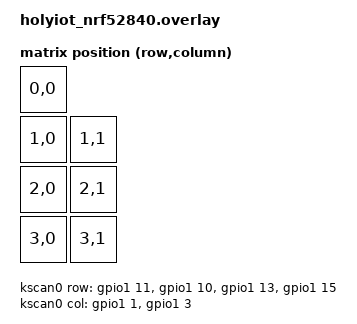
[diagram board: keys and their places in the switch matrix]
#include <dt-bindings/zmk/matrix_transform.h>
// #include <dt-bindings/zmk/trackball_pim447.h>

/ {
	chosen {
		zmk,kscan = &kscan0;
		zmk,matrix_transform = &default_transform;
	};

    default_transform: keymap_transform_0 {
        compatible = "zmk,matrix-transform";
        columns = <2>;
        rows = <4>;
        map = <
			RC(0,0)  
			RC(1,0)  RC(1,1)
			RC(2,0)  RC(2,1)
			RC(3,0)  RC(3,1)
        >;
    };

	kscan0: kscan_0 {
		compatible = "zmk,kscan-gpio-matrix";
		label = "KSCAN";
		diode-direction = "col2row";

		col-gpios
			= <&gpio1 1 GPIO_ACTIVE_HIGH> 
			, <&gpio1 3 GPIO_ACTIVE_HIGH>
			;
			
		row-gpios
			= <&gpio1 11 (GPIO_ACTIVE_HIGH | GPIO_PULL_DOWN)>
			, <&gpio1 10 (GPIO_ACTIVE_HIGH | GPIO_PULL_DOWN)>
			, <&gpio1 13 (GPIO_ACTIVE_HIGH | GPIO_PULL_DOWN)>
			, <&gpio1 15 (GPIO_ACTIVE_HIGH | GPIO_PULL_DOWN)>
			;
	};

};

&encoder {
	status = "okay";
};

// &i2c0 {
// 	compatible = "nordic,nrf-twi";
// 	status = "okay";
// 	sda-pin = <10>;
// 	scl-pin = <11>;
	
// 	trackball_pim447@a {
// 		compatible = "pimoroni,trackball_pim447";
// 		reg = <0xa>;
// 		label = "TRACKBALL_PIM447";

// 		move-factor = <1>;      // Increase pointer velocity (default: 1)
// 		//invert-move-x;        // Invert pointer X axis (left is right, and vice versa)
// 		//invert-move-y;        // Invert pointer Y axis (up is down, and vice versa)
// 		button = <0>;           // Send right-click when pressing the ball (default: 0, ie. left-click)
// 		scroll-divisor = <2>;   // Increase wheel velocity (default: 2)
// 		//invert-scroll-x;      // Invert wheel X axis (left is right, and vice versa)
// 		//invert-scroll-y;      // Invert wheel Y axis (up is down, and vice versa)
// 		mode = <PIM447_MOVE>;   // Act as pointer at startup (default: PIM447_SCROLL for mouse scroll)
// 	};
// };

